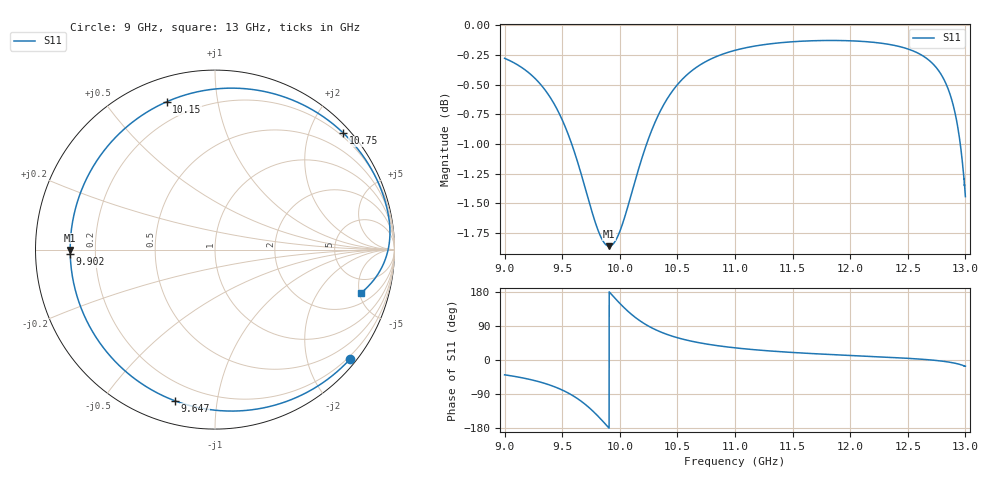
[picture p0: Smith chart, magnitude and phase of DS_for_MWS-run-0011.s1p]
! TOUCHSTONE file generated by CST DESIGN STUDIO
! Date and time: Tue Feb  4 18:44:03 2025
! Project name: C:\Work\MatlabApps\UnitCellOptimizationMatlab\CST\unitcell.cst
! Tree item: Tasks\Sweep1\SPara1\S-Parameters
! Header version: 2024
! Port assignment regex: !\s*Touchstone port\s*([0-9]+)\s*=\s*(CST MWS port|CST DES external port|CST DES block port)\s*(.+)\s* \(\"(.*)\"\)(\s*mode\s*([0-9]+))?.*
! Touchstone port assignment:
! Touchstone port 1 = CST DES external port 1 ("")
# GHz S MA R 50
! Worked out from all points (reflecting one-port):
!   4001 points, 9 GHz to 13 GHz, reference 50 ohm
!   lowest |S11| = -1.9 dB at 9.907 GHz (marker M1), VSWR 9.36, Z = 5.34 - j0.0558 ohm
!   phase of S11 starts at -39 deg and turns -338 deg over the sweep
!   S11 on the Smith chart (normalised r, x): 9 GHz: 0.14, -2.81; 9.647 GHz: 0.11, -0.76; 9.902 GHz: 0.11, -0.02; 10.15 GHz: 0.11, +0.72; 10.75 GHz: 0.13, +2.58; 13 GHz: 3.01, -5.15
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9  0.9685 -39.1
9.148  0.9599 -46.7
9.281  0.9479 -55.9
9.396  0.9324 -66.5
9.5  0.9123 -79.2
9.579  0.8922 -91.7
9.647  0.8714 -104.9
9.709  0.8507 -119.3
9.768  0.8315 -135.3
9.839  0.8135 -157.2
9.902  0.807 -178.2
9.907  0.807 -179.9
9.952  0.8098 165.0
10  0.8186 149.4
10.076  0.8407 127.1
10.153  0.8664 108.1
10.231  0.8907 92.6
10.324  0.9143 78.0
10.5  0.944 58.8
10.617  0.9562 50.0
10.751  0.9657 42.2
11  0.976 32.1
11.5  0.9842 19.9
12  0.9851 11.9
12.5  0.9773 4.4
12.838  0.9433 -4.6
12.926  0.9104 -9.6
13  0.8468 -16.6
